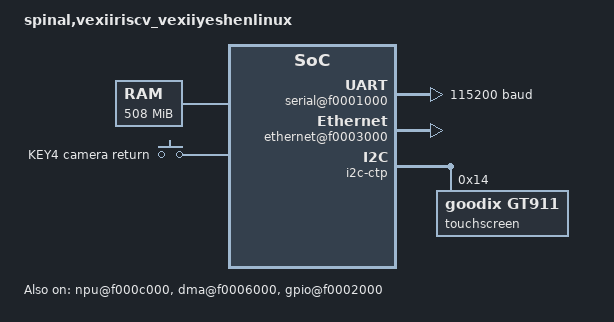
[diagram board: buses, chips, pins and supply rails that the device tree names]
/dts-v1/;

/ {
	#address-cells = <0x01>;
	#size-cells = <0x01>;
	compatible = "spinal,vexiiriscv";
	model = "spinal,vexiiriscv_vexiiyeshenlinux";

	chosen {
		bootargs = "rootwait console=ttyS0,115200 earlycon=sbi root=/dev/ram0 init=/init";
		stdout-path = "/serial@f0001000";
		linux,initrd-start = <0x83000000>;
		linux,initrd-end = <0x83800000>;
	};

	cpus {
		#address-cells = <0x01>;
		#size-cells = <0x00>;
		timebase-frequency = <0x5f5e100>;

		cpu@0 {
			device_type = "cpu";
			compatible = "riscv";
			riscv,isa = "rv32imac";
			mmu-type = "riscv,sv32";
			riscv,isa-base = "rv32i";
			riscv,isa-extensions = "i\0m\0a\0c\0zicsr\0zifencei\0zicbom\0zbb\0zbs";
			riscv,cbom-block-size = <0x40>;
			reg = <0x00>;
			status = "okay";

			interrupt-controller {
				#interrupt-cells = <0x01>;
				interrupt-controller;
				compatible = "riscv,cpu-intc";
				phandle = <0x02>;
			};
		};
	};

	memory@80400000 {
		device_type = "memory";
		reg = <0x80400000 0xfc00000 0xa0000000 0x10000000>;
	};

	reserved-memory {
		#address-cells = <0x01>;
		#size-cells = <0x01>;
		ranges;

		npu_arena@80400000 {
			reg = <0x80400000 0x1c00000>;
			no-map;
		};
	};

	serial@f0001000 {
		compatible = "ns16550a";
		reg = <0xf0001000 0x20>;
		reg-shift = <0x02>;
		clock-frequency = <0x5f5e100>;
		current-speed = <0x1c200>;
		interrupt-parent = <0x01>;
		interrupts = <0x01>;
		status = "okay";
	};

	interrupt-controller@f0c00000 {
		compatible = "sifive,plic-1.0.0\0sifive,fu540-c000-plic\0riscv,plic0";
		reg = <0xf0c00000 0x4000000>;
		interrupt-controller;
		#address-cells = <0x00>;
		#interrupt-cells = <0x01>;
		interrupts-extended = <0x02 0x0b 0x02 0x09>;
		riscv,ndev = <0x05>;
		phandle = <0x01>;
	};

	ethernet@f0003000 {
		compatible = "litex,liteeth";
		reg = <0xf0003000 0x100 0xf0004000 0x100 0xf0008000 0x3000>;
		reg-names = "mac\0mdio\0buffer";
		interrupt-parent = <0x01>;
		interrupts = <0x02>;
		litex,rx-slots = <0x04>;
		litex,tx-slots = <0x02>;
		litex,slot-size = <0x800>;
		local-mac-address = [02 00 00 00 00 01];
		status = "okay";
	};

	npu@f000c000 {
		compatible = "y1,yunet-npu";
		reg = <0xf000c000 0x4000>;
		interrupt-parent = <0x01>;
		interrupts = <0x03>;
		status = "okay";
	};

	dma@f0006000 {
		compatible = "y1,dma-engine";
		reg = <0xf0006000 0x100>;
		interrupt-parent = <0x01>;
		interrupts = <0x04>;
		status = "okay";
	};

	syscon@f0007400 {
		compatible = "syscon";
		reg = <0xf0007400 0x100>;
		phandle = <0x03>;
	};

	reboot {
		compatible = "syscon-reboot";
		regmap = <0x03>;
		offset = <0x98>;
		value = <0x01>;
	};

	gpio@f0002000 {
		compatible = "yeshen,ctp-gpio";
		reg = <0xf0002000 0x1000>;
		gpio-controller;
		#gpio-cells = <0x02>;
		ngpios = <0x0d>;
		status = "okay";
		phandle = <0x04>;
	};

	i2c-ctp {
		compatible = "i2c-gpio";
		i2c-gpio,scl-open-drain;
		scl-gpios = <0x04 0x08 0x00>;
		sda-gpios = <0x04 0x09 0x06>;
		i2c-gpio,delay-us = <0x14>;
		#address-cells = <0x01>;
		#size-cells = <0x00>;
		status = "okay";

		touchscreen@14 {
			compatible = "goodix,gt911";
			reg = <0x14>;
			interrupt-parent = <0x01>;
			interrupts = <0x05>;
			irq-gpios = <0x04 0x0b 0x00>;
			reset-gpios = <0x04 0x0a 0x00>;
			touchscreen-size-x = <0x400>;
			touchscreen-size-y = <0x258>;
			status = "okay";
		};
	};

	gpio-keys {
		compatible = "gpio-keys-polled";
		poll-interval = <0x14>;

		key4 {
			label = "KEY4 camera return";
			gpios = <0x04 0x0c 0x01>;
			linux,code = <0xb7>;
		};
	};
};
